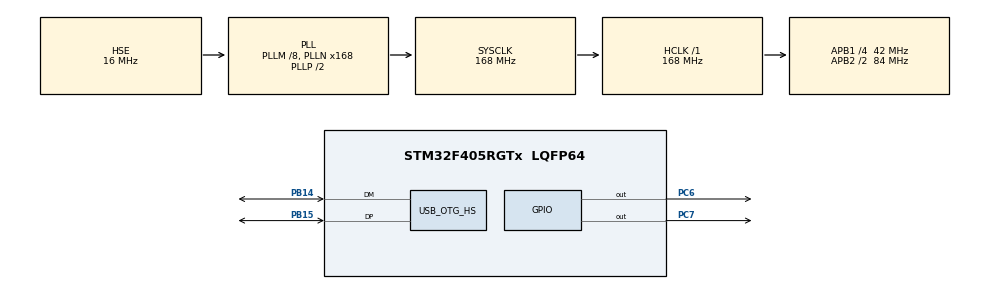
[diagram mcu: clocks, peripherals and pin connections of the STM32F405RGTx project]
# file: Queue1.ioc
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FREERTOS.Tasks01=defaultTask,0,128,StartDefaultTask,Default,NULL
Mcu.Family=STM32F4
Mcu.Name=STM32F405RGTx
Mcu.Package=LQFP64
NVIC.OTG_HS_IRQn=true\:5\:0\:false\:false\:true\:true\:false
NVIC.PriorityGroup=NVIC_PRIORITYGROUP_4
NVIC.TIM1_UP_TIM10_IRQn=true\:0\:0\:false\:false\:true\:false\:false
NVIC.TimeBase=TIM1_UP_TIM10_IRQn
NVIC.TimeBaseIP=TIM1
PA13.Mode=JTAG_5_pins
PA13.Signal=SYS_JTMS-SWDIO
PA14.Mode=JTAG_5_pins
PA14.Signal=SYS_JTCK-SWCLK
PA15.Mode=JTAG_5_pins
PA15.Signal=SYS_JTDI
PB14.Mode=Device_Only_FS
PB14.Signal=USB_OTG_HS_DM
PB15.Mode=Device_Only_FS
PB15.Signal=USB_OTG_HS_DP
PB3.Mode=JTAG_5_pins
PB3.Signal=SYS_JTDO-SWO
PB4.Mode=JTAG_5_pins
PB4.Signal=SYS_JTRST
PC6.Signal=GPIO_Output
PC7.Signal=GPIO_Output
PH0-OSC_IN.Mode=HSE-External-Oscillator
PH0-OSC_IN.Signal=RCC_OSC_IN
PH1-OSC_OUT.Mode=HSE-External-Oscillator
PH1-OSC_OUT.Signal=RCC_OSC_OUT
ProjectManager.HeapSize=0x200
ProjectManager.StackSize=0x400
ProjectManager.TargetToolchain=TrueSTUDIO
RCC.48MHZClocksFreq_Value=48000000
RCC.AHBFreq_Value=168000000
RCC.APB1CLKDivider=RCC_HCLK_DIV4
RCC.APB1Freq_Value=42000000
RCC.APB1TimFreq_Value=84000000
RCC.APB2CLKDivider=RCC_HCLK_DIV2
RCC.APB2Freq_Value=84000000
RCC.APB2TimFreq_Value=168000000
RCC.CortexFreq_Value=168000000
RCC.HCLKFreq_Value=168000000
RCC.HSE_VALUE=16000000
RCC.HSI_VALUE=16000000
RCC.LSE_VALUE=32768
RCC.PLLM=8
RCC.PLLN=168
RCC.PLLQ=7
RCC.SYSCLKFreq_VALUE=168000000
RCC.SYSCLKSource=RCC_SYSCLKSOURCE_PLLCLK
RCC.VCOOutputFreq_Value=336000000
USB_DEVICE.CLASS_NAME_HS=CDC
USB_DEVICE.VirtualMode-CDC_HS=Cdc
USB_DEVICE.VirtualModeHS=Cdc_HS
USB_OTG_HS.VirtualMode-Device_Only_FS=Device_Only_FS
VP_FREERTOS_VS_ENABLE.Mode=Enabled
VP_SYS_VS_tim1.Mode=TIM1
VP_USB_DEVICE_VS_USB_DEVICE_CDC_HS.Mode=CDC_HS
board=Queue1

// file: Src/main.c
/**
  ******************************************************************************
  * File Name          : main.c
  * Description        : Main program body
  ******************************************************************************
  * This notice applies to any and all portions of this file
  * that are not between comment pairs USER CODE BEGIN and
  * USER CODE END. Other portions of this file, whether
  * inserted by the user or by software development tools
  * are owned by their respective copyright owners.
  *
  * Copyright (c) 2018 STMicroelectronics International N.V.
  * All rights reserved.
  *
  * Redistribution and use in source and binary forms, with or without
  * modification, are permitted, provided that the following conditions are met:
  *
  * 1. Redistribution of source code must retain the above copyright notice,
  *    this list of conditions and the following disclaimer.
  * 2. Redistributions in binary form must reproduce the above copyright notice,
  *    this list of conditions and the following disclaimer in the documentation
  *    and/or other materials provided with the distribution.
  * 3. Neither the name of STMicroelectronics nor the names of other
  *    contributors to this software may be used to endorse or promote products
  *    derived from this software without specific written permission.
  * 4. This software, including modifications and/or derivative works of this
  *    software, must execute solely and exclusively on microcontroller or
  *    microprocessor devices manufactured by or for STMicroelectronics.
  * 5. Redistribution and use of this software other than as permitted under
  *    this license is void and will automatically terminate your rights under
  *    this license.
  *
  * THIS SOFTWARE IS PROVIDED BY STMICROELECTRONICS AND CONTRIBUTORS "AS IS"
  * AND ANY EXPRESS, IMPLIED OR STATUTORY WARRANTIES, INCLUDING, BUT NOT
  * LIMITED TO, THE IMPLIED WARRANTIES OF MERCHANTABILITY, FITNESS FOR A
  * PARTICULAR PURPOSE AND NON-INFRINGEMENT OF THIRD PARTY INTELLECTUAL PROPERTY
  * RIGHTS ARE DISCLAIMED TO THE FULLEST EXTENT PERMITTED BY LAW. IN NO EVENT
  * SHALL STMICROELECTRONICS OR CONTRIBUTORS BE LIABLE FOR ANY DIRECT, INDIRECT,
  * INCIDENTAL, SPECIAL, EXEMPLARY, OR CONSEQUENTIAL DAMAGES (INCLUDING, BUT NOT
  * LIMITED TO, PROCUREMENT OF SUBSTITUTE GOODS OR SERVICES; LOSS OF USE, DATA,
  * OR PROFITS; OR BUSINESS INTERRUPTION) HOWEVER CAUSED AND ON ANY THEORY OF
  * LIABILITY, WHETHER IN CONTRACT, STRICT LIABILITY, OR TORT (INCLUDING
  * NEGLIGENCE OR OTHERWISE) ARISING IN ANY WAY OUT OF THE USE OF THIS SOFTWARE,
  * EVEN IF ADVISED OF THE POSSIBILITY OF SUCH DAMAGE.
  *
  ******************************************************************************
  */

#include "main.h"
#include "stm32f4xx_hal.h"
#include "cmsis_os.h"
#include "usb_device.h"

/* USER CODE BEGIN Includes */
#include "usbd_cdc_if.h"
/* USER CODE END Includes */

osThreadId defaultTaskHandle;

/* USER CODE BEGIN PV */
/* Private variables ---------------------------------------------------------*/
xTaskHandle s;
xTaskHandle r;

xQueueHandle q;
/* USER CODE END PV */

void SystemClock_Config(void);
static void MX_GPIO_Init(void);
void StartDefaultTask(void const * argument);

/* USER CODE BEGIN PFP */
/* Private function prototypes -----------------------------------------------*/
void vSendTask(void * pv);
void vRecieveTask(void * pv);
/* USER CODE END PFP */

int main(void)
{

  /* MCU Configuration----------------------------------------------------------*/

  /* Reset of all peripherals, Initializes the Flash interface and the Systick. */
  HAL_Init();

  /* Configure the system clock */
  SystemClock_Config();

  /* Initialize all configured peripherals */
  MX_GPIO_Init();

  /* Create the thread(s) */
  /* definition and creation of defaultTask */
  osThreadDef(defaultTask, StartDefaultTask, osPriorityNormal, 0, 128);
  defaultTaskHandle = osThreadCreate(osThread(defaultTask), NULL);

  /* USER CODE BEGIN RTOS_THREADS */
  /* add threads, ... */
  xTaskCreate(vSendTask, "send", configMINIMAL_STACK_SIZE, NULL, 1, s);
  xTaskCreate(vRecieveTask, "receive", configMINIMAL_STACK_SIZE, NULL, 1, r);
  /* USER CODE END RTOS_THREADS */

  /* USER CODE BEGIN RTOS_QUEUES */
  /* add queues, ... */
  q = xQueueCreate(5, sizeof(uint8_t));
  /* USER CODE END RTOS_QUEUES */

  /* Start scheduler */
  osKernelStart();

  /* We should never get here as control is now taken by the scheduler */

  /* Infinite loop */
  while (1)
  {

  }

}

/** System Clock Configuration
*/
void SystemClock_Config(void)
{

  RCC_OscInitTypeDef RCC_OscInitStruct;
  RCC_ClkInitTypeDef RCC_ClkInitStruct;

    /**Configure the main internal regulator output voltage
    */
  __HAL_RCC_PWR_CLK_ENABLE();

  __HAL_PWR_VOLTAGESCALING_CONFIG(PWR_REGULATOR_VOLTAGE_SCALE1);

    /**Initializes the CPU, AHB and APB busses clocks
    */
  RCC_OscInitStruct.OscillatorType = RCC_OSCILLATORTYPE_HSE;
  RCC_OscInitStruct.HSEState = RCC_HSE_ON;
  RCC_OscInitStruct.PLL.PLLState = RCC_PLL_ON;
  RCC_OscInitStruct.PLL.PLLSource = RCC_PLLSOURCE_HSE;
  RCC_OscInitStruct.PLL.PLLM = 8;
  RCC_OscInitStruct.PLL.PLLN = 168;
  RCC_OscInitStruct.PLL.PLLP = RCC_PLLP_DIV2;
  RCC_OscInitStruct.PLL.PLLQ = 7;
  if (HAL_RCC_OscConfig(&RCC_OscInitStruct) != HAL_OK)
  {
    _Error_Handler(__FILE__, __LINE__);
  }

    /**Initializes the CPU, AHB and APB busses clocks
    */
  RCC_ClkInitStruct.ClockType = RCC_CLOCKTYPE_HCLK|RCC_CLOCKTYPE_SYSCLK
                              |RCC_CLOCKTYPE_PCLK1|RCC_CLOCKTYPE_PCLK2;
  RCC_ClkInitStruct.SYSCLKSource = RCC_SYSCLKSOURCE_PLLCLK;
  RCC_ClkInitStruct.AHBCLKDivider = RCC_SYSCLK_DIV1;
  RCC_ClkInitStruct.APB1CLKDivider = RCC_HCLK_DIV4;
  RCC_ClkInitStruct.APB2CLKDivider = RCC_HCLK_DIV2;

  if (HAL_RCC_ClockConfig(&RCC_ClkInitStruct, FLASH_LATENCY_5) != HAL_OK)
  {
    _Error_Handler(__FILE__, __LINE__);
  }

    /**Configure the Systick interrupt time
    */
  HAL_SYSTICK_Config(HAL_RCC_GetHCLKFreq()/1000);

    /**Configure the Systick
    */
  HAL_SYSTICK_CLKSourceConfig(SYSTICK_CLKSOURCE_HCLK);

  /* SysTick_IRQn interrupt configuration */
  HAL_NVIC_SetPriority(SysTick_IRQn, 15, 0);
}

/** Configure pins as
        * Analog
        * Input
        * Output
        * EVENT_OUT
        * EXTI
*/
static void MX_GPIO_Init(void)
{

  GPIO_InitTypeDef GPIO_InitStruct;

  /* GPIO Ports Clock Enable */
  __HAL_RCC_GPIOH_CLK_ENABLE();
  __HAL_RCC_GPIOB_CLK_ENABLE();
  __HAL_RCC_GPIOC_CLK_ENABLE();
  __HAL_RCC_GPIOA_CLK_ENABLE();

  /*Configure GPIO pin Output Level */
  HAL_GPIO_WritePin(GPIOC, GPIO_PIN_6|GPIO_PIN_7, GPIO_PIN_RESET);

  /*Configure GPIO pins : PC6 PC7 */
  GPIO_InitStruct.Pin = GPIO_PIN_6|GPIO_PIN_7;
  GPIO_InitStruct.Mode = GPIO_MODE_OUTPUT_PP;
  GPIO_InitStruct.Pull = GPIO_NOPULL;
  GPIO_InitStruct.Speed = GPIO_SPEED_FREQ_LOW;
  HAL_GPIO_Init(GPIOC, &GPIO_InitStruct);

}

/* USER CODE BEGIN 4 */
void vSendTask(void * pv) {
	uint8_t tx = 0;
	for (;;) {
		xQueueSendToBack(q, &tx, 20); // queue pointer, address of value to add, max delay
		tx++;
		vTaskDelay(100);
	}
}

void vRecieveTask(void * pv) {
	uint8_t rx = 0;
	for (;;) {
		xQueueReceive(q, &rx, 20);
		CDC_Transmit_HS((char *) &rx, 1);
		vTaskDelay(100);
	}
}
/* USER CODE END 4 */

/* StartDefaultTask function */
void StartDefaultTask(void const * argument)
{
  /* init code for USB_DEVICE */
  MX_USB_DEVICE_Init();

  for(;;)
  {
    osDelay(1);
  }
}

void HAL_TIM_PeriodElapsedCallback(TIM_HandleTypeDef *htim)
{
  if (htim->Instance == TIM1) {
    HAL_IncTick();
  }
}

void _Error_Handler(char * file, int line)
{
  while(1)
  {
  }
}

/************************ (C) COPYRIGHT STMicroelectronics *****END OF FILE****/
